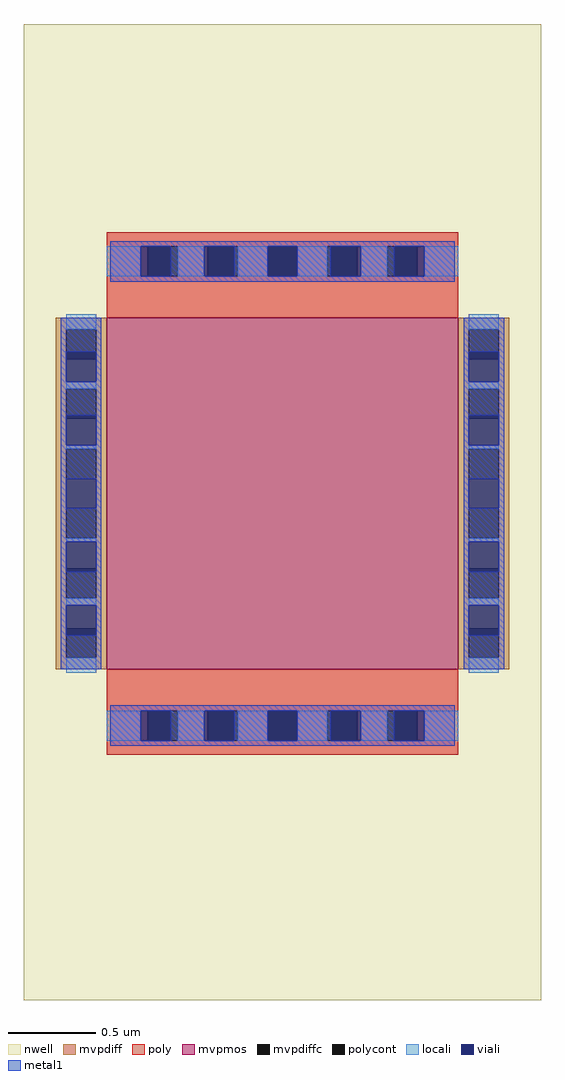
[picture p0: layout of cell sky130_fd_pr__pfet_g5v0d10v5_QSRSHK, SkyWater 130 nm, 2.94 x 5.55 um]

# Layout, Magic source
magic
tech sky130A
magscale 1 2
<< nwell >>
rect -294 -576 294 534
<< mvpmos >>
rect -200 -200 200 200
<< mvpdiff >>
rect -258 187 -200 200
rect -258 153 -246 187
rect -212 153 -200 187
rect -258 119 -200 153
rect -258 85 -246 119
rect -212 85 -200 119
rect -258 51 -200 85
rect -258 17 -246 51
rect -212 17 -200 51
rect -258 -17 -200 17
rect -258 -51 -246 -17
rect -212 -51 -200 -17
rect -258 -85 -200 -51
rect -258 -119 -246 -85
rect -212 -119 -200 -85
rect -258 -153 -200 -119
rect -258 -187 -246 -153
rect -212 -187 -200 -153
rect -258 -200 -200 -187
rect 200 187 258 200
rect 200 153 212 187
rect 246 153 258 187
rect 200 119 258 153
rect 200 85 212 119
rect 246 85 258 119
rect 200 51 258 85
rect 200 17 212 51
rect 246 17 258 51
rect 200 -17 258 17
rect 200 -51 212 -17
rect 246 -51 258 -17
rect 200 -85 258 -51
rect 200 -119 212 -85
rect 246 -119 258 -85
rect 200 -153 258 -119
rect 200 -187 212 -153
rect 246 -187 258 -153
rect 200 -200 258 -187
<< mvpdiffc >>
rect -246 153 -212 187
rect -246 85 -212 119
rect -246 17 -212 51
rect -246 -51 -212 -17
rect -246 -119 -212 -85
rect -246 -187 -212 -153
rect 212 153 246 187
rect 212 85 246 119
rect 212 17 246 51
rect 212 -51 246 -17
rect 212 -119 246 -85
rect 212 -187 246 -153
<< poly >>
rect -200 281 200 297
rect -200 247 -153 281
rect -119 247 -85 281
rect -51 247 -17 281
rect 17 247 51 281
rect 85 247 119 281
rect 153 247 200 281
rect -200 200 200 247
rect -200 -247 200 -200
rect -200 -281 -153 -247
rect -119 -281 -85 -247
rect -51 -281 -17 -247
rect 17 -281 51 -247
rect 85 -281 119 -247
rect 153 -281 200 -247
rect -200 -297 200 -281
<< polycont >>
rect -153 247 -119 281
rect -85 247 -51 281
rect -17 247 17 281
rect 51 247 85 281
rect 119 247 153 281
rect -153 -281 -119 -247
rect -85 -281 -51 -247
rect -17 -281 17 -247
rect 51 -281 85 -247
rect 119 -281 153 -247
<< locali >>
rect -200 247 -161 281
rect -119 247 -89 281
rect -51 247 -17 281
rect 17 247 51 281
rect 89 247 119 281
rect 161 247 200 281
rect -246 187 -212 204
rect -246 119 -212 127
rect -246 51 -212 55
rect -246 -55 -212 -51
rect -246 -127 -212 -119
rect -246 -204 -212 -187
rect 212 187 246 204
rect 212 119 246 127
rect 212 51 246 55
rect 212 -55 246 -51
rect 212 -127 246 -119
rect 212 -204 246 -187
rect -200 -281 -161 -247
rect -119 -281 -89 -247
rect -51 -281 -17 -247
rect 17 -281 51 -247
rect 89 -281 119 -247
rect 161 -281 200 -247
<< viali >>
rect -161 247 -153 281
rect -153 247 -127 281
rect -89 247 -85 281
rect -85 247 -55 281
rect -17 247 17 281
rect 55 247 85 281
rect 85 247 89 281
rect 127 247 153 281
rect 153 247 161 281
rect -246 153 -212 161
rect -246 127 -212 153
rect -246 85 -212 89
rect -246 55 -212 85
rect -246 -17 -212 17
rect -246 -85 -212 -55
rect -246 -89 -212 -85
rect -246 -153 -212 -127
rect -246 -161 -212 -153
rect 212 153 246 161
rect 212 127 246 153
rect 212 85 246 89
rect 212 55 246 85
rect 212 -17 246 17
rect 212 -85 246 -55
rect 212 -89 246 -85
rect 212 -153 246 -127
rect 212 -161 246 -153
rect -161 -281 -153 -247
rect -153 -281 -127 -247
rect -89 -281 -85 -247
rect -85 -281 -55 -247
rect -17 -281 17 -247
rect 55 -281 85 -247
rect 85 -281 89 -247
rect 127 -281 153 -247
rect 153 -281 161 -247
<< metal1 >>
rect -196 281 196 287
rect -196 247 -161 281
rect -127 247 -89 281
rect -55 247 -17 281
rect 17 247 55 281
rect 89 247 127 281
rect 161 247 196 281
rect -196 241 196 247
rect -252 161 -206 200
rect -252 127 -246 161
rect -212 127 -206 161
rect -252 89 -206 127
rect -252 55 -246 89
rect -212 55 -206 89
rect -252 17 -206 55
rect -252 -17 -246 17
rect -212 -17 -206 17
rect -252 -55 -206 -17
rect -252 -89 -246 -55
rect -212 -89 -206 -55
rect -252 -127 -206 -89
rect -252 -161 -246 -127
rect -212 -161 -206 -127
rect -252 -200 -206 -161
rect 206 161 252 200
rect 206 127 212 161
rect 246 127 252 161
rect 206 89 252 127
rect 206 55 212 89
rect 246 55 252 89
rect 206 17 252 55
rect 206 -17 212 17
rect 246 -17 252 17
rect 206 -55 252 -17
rect 206 -89 212 -55
rect 246 -89 252 -55
rect 206 -127 252 -89
rect 206 -161 212 -127
rect 246 -161 252 -127
rect 206 -200 252 -161
rect -196 -247 196 -241
rect -196 -281 -161 -247
rect -127 -281 -89 -247
rect -55 -281 -17 -247
rect 17 -281 55 -247
rect 89 -281 127 -247
rect 161 -281 196 -247
rect -196 -287 196 -281
<< end >>
